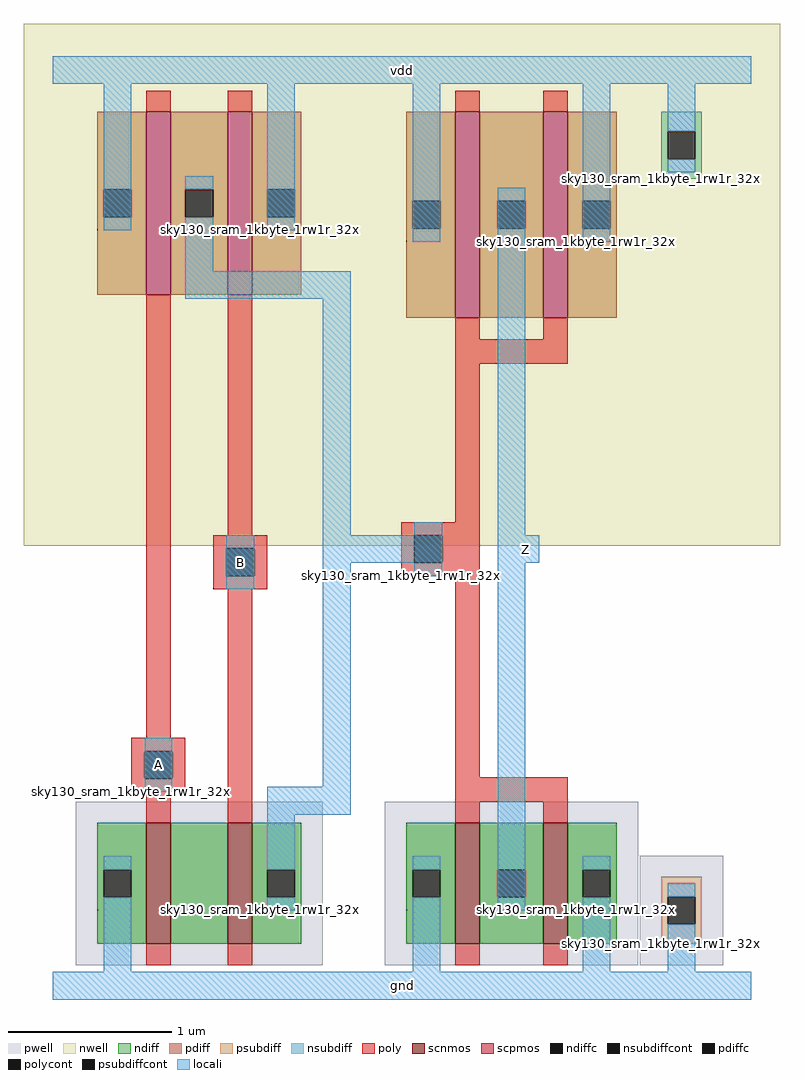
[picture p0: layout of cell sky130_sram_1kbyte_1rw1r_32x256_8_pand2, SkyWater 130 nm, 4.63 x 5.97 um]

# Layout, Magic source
magic
tech sky130A
magscale 1 2
<< locali >>
rect 0 1103 854 1137
rect 330 551 364 857
rect 212 485 246 551
rect 330 517 459 551
rect 561 517 595 551
rect 112 237 146 303
rect 0 -17 854 17
use sky130_sram_1kbyte_1rw1r_32x256_8_pdriver  sky130_sram_1kbyte_1rw1r_32x256_8_pdriver_0
transform 1 0 378 0 1 0
box -36 -17 512 1177
use sky130_sram_1kbyte_1rw1r_32x256_8_pnand2  sky130_sram_1kbyte_1rw1r_32x256_8_pnand2_0
transform 1 0 0 0 1 0
box -36 -17 414 1177
<< labels >>
rlabel locali s 578 534 578 534 4 Z
port 1 nsew
rlabel locali s 129 270 129 270 4 A
port 2 nsew
rlabel locali s 229 518 229 518 4 B
port 3 nsew
rlabel locali s 427 0 427 0 4 gnd
port 4 nsew
rlabel locali s 427 1120 427 1120 4 vdd
port 5 nsew
<< properties >>
string FIXED_BBOX 0 0 854 1120
string GDS_FILE $PDKPATH/libs.ref/sky130_sram_macros/gds/sky130_sram_1kbyte_1rw1r_32x256_8.gds
string GDS_END 227234
string GDS_START 226096
<< end >>

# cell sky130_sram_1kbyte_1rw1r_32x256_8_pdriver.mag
magic
tech sky130A
magscale 1 2
<< nwell >>
rect -36 538 512 1177
<< locali >>
rect 0 1103 476 1137
rect 64 501 98 567
rect 183 517 217 551
rect 0 -17 476 17
use sky130_sram_1kbyte_1rw1r_32x256_8_pinv  sky130_sram_1kbyte_1rw1r_32x256_8_pinv_0
transform 1 0 0 0 1 0
box -36 -17 512 1177
<< labels >>
rlabel locali s 200 534 200 534 4 Z
port 1 nsew
rlabel locali s 81 534 81 534 4 A
port 2 nsew
rlabel locali s 238 0 238 0 4 gnd
port 3 nsew
rlabel locali s 238 1120 238 1120 4 vdd
port 4 nsew
<< properties >>
string FIXED_BBOX 0 0 476 1120
string GDS_FILE $PDKPATH/libs.ref/sky130_sram_macros/gds/sky130_sram_1kbyte_1rw1r_32x256_8.gds
string GDS_END 62650
string GDS_START 61822
<< end >>

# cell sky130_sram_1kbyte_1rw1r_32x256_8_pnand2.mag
magic
tech sky130A
magscale 1 2
<< nwell >>
rect -36 538 414 1177
<< poly >>
rect 114 303 144 819
rect 214 551 244 819
rect 196 535 262 551
rect 196 501 212 535
rect 246 501 262 535
rect 196 485 262 501
rect 96 287 162 303
rect 96 253 112 287
rect 146 253 162 287
rect 96 237 162 253
rect 114 225 144 237
rect 214 225 244 485
<< polycont >>
rect 212 501 246 535
rect 112 253 146 287
<< locali >>
rect 0 1103 378 1137
rect 62 924 96 1103
rect 262 924 296 1103
rect 162 874 196 924
rect 162 840 364 874
rect 212 535 246 551
rect 212 485 246 501
rect 112 287 146 303
rect 112 237 146 253
rect 330 243 364 840
rect 262 209 364 243
rect 262 158 296 209
rect 62 17 96 92
rect 0 -17 378 17
use sky130_sram_1kbyte_1rw1r_32x256_8_contact_16  sky130_sram_1kbyte_1rw1r_32x256_8_contact_16_0
transform 1 0 196 0 1 485
box 0 0 1 1
use sky130_sram_1kbyte_1rw1r_32x256_8_contact_16  sky130_sram_1kbyte_1rw1r_32x256_8_contact_16_1
transform 1 0 96 0 1 237
box 0 0 1 1
use sky130_sram_1kbyte_1rw1r_32x256_8_nmos_m1_w0_740_sactive_dli  sky130_sram_1kbyte_1rw1r_32x256_8_nmos_m1_w0_740_sactive_dli_0
transform 1 0 154 0 1 51
box -26 -26 176 174
use sky130_sram_1kbyte_1rw1r_32x256_8_nmos_m1_w0_740_sli_dactive  sky130_sram_1kbyte_1rw1r_32x256_8_nmos_m1_w0_740_sli_dactive_0
transform 1 0 54 0 1 51
box -26 -26 176 174
use sky130_sram_1kbyte_1rw1r_32x256_8_pmos_m1_w1_120_sli_dli  sky130_sram_1kbyte_1rw1r_32x256_8_pmos_m1_w1_120_sli_dli_0
transform 1 0 154 0 1 845
box -59 -54 209 278
use sky130_sram_1kbyte_1rw1r_32x256_8_pmos_m1_w1_120_sli_dli  sky130_sram_1kbyte_1rw1r_32x256_8_pmos_m1_w1_120_sli_dli_1
transform 1 0 54 0 1 845
box -59 -54 209 278
<< labels >>
rlabel locali s 347 857 347 857 4 Z
port 1 nsew
rlabel locali s 189 0 189 0 4 gnd
port 2 nsew
rlabel locali s 189 1120 189 1120 4 vdd
port 3 nsew
rlabel locali s 129 270 129 270 4 A
port 4 nsew
rlabel locali s 229 518 229 518 4 B
port 5 nsew
<< properties >>
string FIXED_BBOX 0 0 378 1120
string GDS_FILE $PDKPATH/libs.ref/sky130_sram_macros/gds/sky130_sram_1kbyte_1rw1r_32x256_8.gds
string GDS_END 65242
string GDS_START 62722
<< end >>

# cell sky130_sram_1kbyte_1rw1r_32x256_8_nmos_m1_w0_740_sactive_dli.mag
magic
tech sky130A
magscale 1 2
<< pwell >>
rect -26 -26 176 174
<< scnmos >>
rect 60 0 90 148
<< ndiff >>
rect 0 0 60 148
rect 90 91 150 148
rect 90 57 108 91
rect 142 57 150 91
rect 90 0 150 57
<< ndiffc >>
rect 108 57 142 91
<< poly >>
rect 60 148 90 174
rect 60 -26 90 0
<< locali >>
rect 108 91 142 107
rect 108 41 142 57
use sky130_sram_1kbyte_1rw1r_32x256_8_contact_11  sky130_sram_1kbyte_1rw1r_32x256_8_contact_11_0
transform 1 0 100 0 1 41
box 0 0 1 1
<< labels >>
rlabel locali s 125 74 125 74 4 D
port 1 nsew
rlabel poly s 75 74 75 74 4 G
port 2 nsew
rlabel mvpsubdiff s 25 74 25 74 4 S
<< properties >>
string FIXED_BBOX -25 -26 175 174
string GDS_FILE $PDKPATH/libs.ref/sky130_sram_macros/gds/sky130_sram_1kbyte_1rw1r_32x256_8.gds
string GDS_END 24370
string GDS_START 23648
<< end >>

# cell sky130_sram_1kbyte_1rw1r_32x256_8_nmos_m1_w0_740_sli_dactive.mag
magic
tech sky130A
magscale 1 2
<< pwell >>
rect -26 -26 176 174
<< scnmos >>
rect 60 0 90 148
<< ndiff >>
rect 0 91 60 148
rect 0 57 8 91
rect 42 57 60 91
rect 0 0 60 57
rect 90 0 150 148
<< ndiffc >>
rect 8 57 42 91
<< poly >>
rect 60 148 90 174
rect 60 -26 90 0
<< locali >>
rect 8 91 42 107
rect 8 41 42 57
use sky130_sram_1kbyte_1rw1r_32x256_8_contact_11  sky130_sram_1kbyte_1rw1r_32x256_8_contact_11_0
transform 1 0 0 0 1 41
box 0 0 1 1
<< labels >>
rlabel locali s 25 74 25 74 4 S
port 1 nsew
rlabel poly s 75 74 75 74 4 G
port 2 nsew
rlabel mvpsubdiff s 125 74 125 74 4 D
<< properties >>
string FIXED_BBOX -25 -26 175 174
string GDS_FILE $PDKPATH/libs.ref/sky130_sram_macros/gds/sky130_sram_1kbyte_1rw1r_32x256_8.gds
string GDS_END 25184
string GDS_START 24462
<< end >>

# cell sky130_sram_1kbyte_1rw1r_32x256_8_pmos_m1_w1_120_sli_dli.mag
magic
tech sky130A
magscale 1 2
<< nwell >>
rect -54 196 204 278
rect -59 28 209 196
rect -54 -54 204 28
<< scpmos >>
rect 60 0 90 224
<< pdiff >>
rect 0 129 60 224
rect 0 95 8 129
rect 42 95 60 129
rect 0 0 60 95
rect 90 129 150 224
rect 90 95 108 129
rect 142 95 150 129
rect 90 0 150 95
<< pdiffc >>
rect 8 95 42 129
rect 108 95 142 129
<< poly >>
rect 60 224 90 250
rect 60 -26 90 0
<< locali >>
rect 8 129 42 145
rect 8 79 42 95
rect 108 129 142 145
rect 108 79 142 95
use sky130_sram_1kbyte_1rw1r_32x256_8_contact_12  sky130_sram_1kbyte_1rw1r_32x256_8_contact_12_0
transform 1 0 100 0 1 79
box 0 0 1 1
use sky130_sram_1kbyte_1rw1r_32x256_8_contact_12  sky130_sram_1kbyte_1rw1r_32x256_8_contact_12_1
transform 1 0 0 0 1 79
box 0 0 1 1
<< labels >>
rlabel locali s 25 112 25 112 4 S
port 1 nsew
rlabel locali s 125 112 125 112 4 D
port 2 nsew
rlabel poly s 75 112 75 112 4 G
port 3 nsew
<< properties >>
string FIXED_BBOX -54 -54 204 28
string GDS_FILE $PDKPATH/libs.ref/sky130_sram_macros/gds/sky130_sram_1kbyte_1rw1r_32x256_8.gds
string GDS_END 26132
string GDS_START 25272
<< end >>

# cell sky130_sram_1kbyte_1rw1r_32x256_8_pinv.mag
magic
tech sky130A
magscale 1 2
<< nwell >>
rect -36 538 512 1177
<< pwell >>
rect 340 25 442 159
<< psubdiff >>
rect 366 109 416 133
rect 366 75 374 109
rect 408 75 416 109
rect 366 51 416 75
<< nsubdiff >>
rect 366 1045 416 1069
rect 366 1011 374 1045
rect 408 1011 416 1045
rect 366 987 416 1011
<< psubdiffcont >>
rect 374 75 408 109
<< nsubdiffcont >>
rect 374 1011 408 1045
<< poly >>
rect 114 567 144 761
rect 48 551 144 567
rect 48 517 64 551
rect 98 517 144 551
rect 48 501 144 517
rect 114 255 144 501
<< polycont >>
rect 64 517 98 551
<< locali >>
rect 0 1103 476 1137
rect 62 910 96 1103
rect 64 551 98 567
rect 64 501 98 517
rect 166 551 200 976
rect 270 910 304 1103
rect 374 1045 408 1103
rect 374 995 408 1011
rect 166 517 217 551
rect 166 92 200 517
rect 374 109 408 125
rect 62 17 96 92
rect 270 17 304 92
rect 374 17 408 75
rect 0 -17 476 17
use sky130_sram_1kbyte_1rw1r_32x256_8_contact_16  sky130_sram_1kbyte_1rw1r_32x256_8_contact_16_0
transform 1 0 48 0 1 501
box 0 0 1 1
use sky130_sram_1kbyte_1rw1r_32x256_8_contact_29  sky130_sram_1kbyte_1rw1r_32x256_8_contact_29_0
transform 1 0 366 0 1 51
box 0 0 1 1
use sky130_sram_1kbyte_1rw1r_32x256_8_contact_28  sky130_sram_1kbyte_1rw1r_32x256_8_contact_28_0
transform 1 0 366 0 1 987
box 0 0 1 1
use sky130_sram_1kbyte_1rw1r_32x256_8_nmos_m2_w0_740_sli_dli_da_p  sky130_sram_1kbyte_1rw1r_32x256_8_nmos_m2_w0_740_sli_dli_da_p_0
transform 1 0 54 0 1 51
box -26 -26 284 204
use sky130_sram_1kbyte_1rw1r_32x256_8_pmos_m2_w1_260_sli_dli_da_p  sky130_sram_1kbyte_1rw1r_32x256_8_pmos_m2_w1_260_sli_dli_da_p_0
transform 1 0 54 0 1 817
box -59 -56 317 306
<< labels >>
rlabel locali s 81 534 81 534 4 A
port 1 nsew
rlabel locali s 200 534 200 534 4 Z
port 2 nsew
rlabel locali s 238 0 238 0 4 gnd
port 3 nsew
rlabel locali s 238 1120 238 1120 4 vdd
port 4 nsew
<< properties >>
string FIXED_BBOX 0 0 476 1120
string GDS_FILE $PDKPATH/libs.ref/sky130_sram_macros/gds/sky130_sram_1kbyte_1rw1r_32x256_8.gds
string GDS_END 23556
string GDS_START 21558
<< end >>

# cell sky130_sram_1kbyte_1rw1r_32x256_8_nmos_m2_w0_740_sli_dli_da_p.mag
magic
tech sky130A
magscale 1 2
<< pwell >>
rect -26 -26 284 174
<< scnmos >>
rect 60 0 90 148
rect 168 0 198 148
<< ndiff >>
rect 0 91 60 148
rect 0 57 8 91
rect 42 57 60 91
rect 0 0 60 57
rect 90 91 168 148
rect 90 57 112 91
rect 146 57 168 91
rect 90 0 168 57
rect 198 91 258 148
rect 198 57 216 91
rect 250 57 258 91
rect 198 0 258 57
<< ndiffc >>
rect 8 57 42 91
rect 112 57 146 91
rect 216 57 250 91
<< poly >>
rect 60 174 198 204
rect 60 148 90 174
rect 168 148 198 174
rect 60 -26 90 0
rect 168 -26 198 0
<< locali >>
rect 8 91 42 107
rect 8 41 42 57
rect 112 91 146 107
rect 112 41 146 57
rect 216 91 250 107
rect 216 41 250 57
use sky130_sram_1kbyte_1rw1r_32x256_8_contact_11  sky130_sram_1kbyte_1rw1r_32x256_8_contact_11_0
transform 1 0 208 0 1 41
box 0 0 1 1
use sky130_sram_1kbyte_1rw1r_32x256_8_contact_11  sky130_sram_1kbyte_1rw1r_32x256_8_contact_11_1
transform 1 0 104 0 1 41
box 0 0 1 1
use sky130_sram_1kbyte_1rw1r_32x256_8_contact_11  sky130_sram_1kbyte_1rw1r_32x256_8_contact_11_2
transform 1 0 0 0 1 41
box 0 0 1 1
<< labels >>
rlabel locali s 233 74 233 74 4 S
port 1 nsew
rlabel locali s 25 74 25 74 4 S
port 1 nsew
rlabel locali s 129 74 129 74 4 D
port 2 nsew
rlabel poly s 129 189 129 189 4 G
port 3 nsew
<< properties >>
string FIXED_BBOX -25 -26 283 204
string GDS_FILE $PDKPATH/libs.ref/sky130_sram_macros/gds/sky130_sram_1kbyte_1rw1r_32x256_8.gds
string GDS_END 5496
string GDS_START 4454
<< end >>

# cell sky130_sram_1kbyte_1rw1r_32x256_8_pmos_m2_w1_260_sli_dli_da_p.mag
magic
tech sky130A
magscale 1 2
<< nwell >>
rect -54 210 312 306
rect -59 42 317 210
rect -54 -54 312 42
<< scpmos >>
rect 60 0 90 252
rect 168 0 198 252
<< pdiff >>
rect 0 143 60 252
rect 0 109 8 143
rect 42 109 60 143
rect 0 0 60 109
rect 90 143 168 252
rect 90 109 112 143
rect 146 109 168 143
rect 90 0 168 109
rect 198 143 258 252
rect 198 109 216 143
rect 250 109 258 143
rect 198 0 258 109
<< pdiffc >>
rect 8 109 42 143
rect 112 109 146 143
rect 216 109 250 143
<< poly >>
rect 60 252 90 278
rect 168 252 198 278
rect 60 -26 90 0
rect 168 -26 198 0
rect 60 -56 198 -26
<< locali >>
rect 8 143 42 159
rect 8 93 42 109
rect 112 143 146 159
rect 112 93 146 109
rect 216 143 250 159
rect 216 93 250 109
use sky130_sram_1kbyte_1rw1r_32x256_8_contact_12  sky130_sram_1kbyte_1rw1r_32x256_8_contact_12_0
transform 1 0 208 0 1 93
box 0 0 1 1
use sky130_sram_1kbyte_1rw1r_32x256_8_contact_12  sky130_sram_1kbyte_1rw1r_32x256_8_contact_12_1
transform 1 0 104 0 1 93
box 0 0 1 1
use sky130_sram_1kbyte_1rw1r_32x256_8_contact_12  sky130_sram_1kbyte_1rw1r_32x256_8_contact_12_2
transform 1 0 0 0 1 93
box 0 0 1 1
<< labels >>
rlabel locali s 233 126 233 126 4 S
port 1 nsew
rlabel locali s 25 126 25 126 4 S
port 1 nsew
rlabel locali s 129 126 129 126 4 D
port 2 nsew
rlabel poly s 129 -41 129 -41 4 G
port 3 nsew
<< properties >>
string FIXED_BBOX -54 -56 312 42
string GDS_FILE $PDKPATH/libs.ref/sky130_sram_macros/gds/sky130_sram_1kbyte_1rw1r_32x256_8.gds
string GDS_END 6696
string GDS_START 5590
<< end >>
